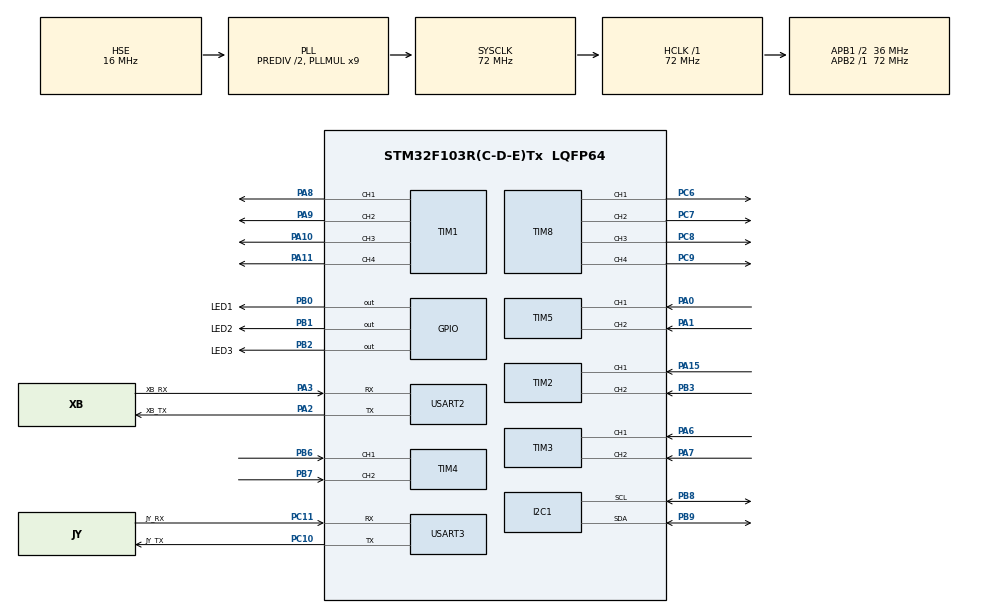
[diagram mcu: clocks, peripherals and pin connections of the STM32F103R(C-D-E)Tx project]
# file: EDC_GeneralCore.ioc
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Dma.Request0=USART2_RX
Dma.Request1=USART3_RX
Dma.USART2_RX.0.Direction=DMA_PERIPH_TO_MEMORY
Dma.USART2_RX.0.Instance=DMA1_Channel6
Dma.USART2_RX.0.MemDataAlignment=DMA_MDATAALIGN_BYTE
Dma.USART2_RX.0.MemInc=DMA_MINC_ENABLE
Dma.USART2_RX.0.Mode=DMA_NORMAL
Dma.USART2_RX.0.PeriphDataAlignment=DMA_PDATAALIGN_BYTE
Dma.USART2_RX.0.PeriphInc=DMA_PINC_DISABLE
Dma.USART2_RX.0.Priority=DMA_PRIORITY_LOW
Dma.USART3_RX.1.Direction=DMA_PERIPH_TO_MEMORY
Dma.USART3_RX.1.Instance=DMA1_Channel3
Dma.USART3_RX.1.MemDataAlignment=DMA_MDATAALIGN_BYTE
Dma.USART3_RX.1.MemInc=DMA_MINC_ENABLE
Dma.USART3_RX.1.Mode=DMA_NORMAL
Dma.USART3_RX.1.PeriphDataAlignment=DMA_PDATAALIGN_BYTE
Dma.USART3_RX.1.PeriphInc=DMA_PINC_DISABLE
Dma.USART3_RX.1.Priority=DMA_PRIORITY_LOW
Mcu.Family=STM32F1
Mcu.Name=STM32F103R(C-D-E)Tx
Mcu.Package=LQFP64
NVIC.DMA1_Channel3_IRQn=true\:3\:0\:true\:false\:true\:false\:true\:true
NVIC.DMA1_Channel6_IRQn=true\:3\:0\:true\:false\:true\:false\:true\:true
NVIC.PriorityGroup=NVIC_PRIORITYGROUP_4
NVIC.TIM6_IRQn=true\:1\:0\:true\:false\:true\:true\:true\:true
NVIC.TIM7_IRQn=true\:5\:0\:true\:false\:true\:true\:true\:true
NVIC.USART2_IRQn=true\:2\:0\:true\:false\:true\:true\:true\:true
NVIC.USART3_IRQn=true\:2\:0\:true\:false\:true\:true\:true\:true
PA0-WKUP.Signal=S_TIM5_CH1
PA1.Signal=S_TIM5_CH2
PA10.Signal=S_TIM1_CH3
PA11.Signal=S_TIM1_CH4
PA13.Mode=Serial_Wire
PA13.Signal=SYS_JTMS-SWDIO
PA14.Mode=Serial_Wire
PA14.Signal=SYS_JTCK-SWCLK
PA15.Signal=S_TIM2_CH1_ETR
PA2.GPIO_Label=XB_TX
PA2.Mode=Asynchronous
PA2.Signal=USART2_TX
PA3.GPIO_Label=XB_RX
PA3.Mode=Asynchronous
PA3.Signal=USART2_RX
PA6.Signal=S_TIM3_CH1
PA7.Signal=S_TIM3_CH2
PA8.Signal=S_TIM1_CH1
PA9.Signal=S_TIM1_CH2
PB0.GPIO_Label=LED1
PB0.Signal=GPIO_Output
PB1.GPIO_Label=LED2
PB1.Signal=GPIO_Output
PB2.GPIO_Label=LED3
PB2.Signal=GPIO_Output
PB3.Signal=S_TIM2_CH2
PB6.Signal=S_TIM4_CH1
PB7.Signal=S_TIM4_CH2
PB8.Mode=I2C
PB8.Signal=I2C1_SCL
PB9.Mode=I2C
PB9.Signal=I2C1_SDA
PC10.GPIO_Label=JY_TX
PC10.Mode=Asynchronous
PC10.Signal=USART3_TX
PC11.GPIO_Label=JY_RX
PC11.Mode=Asynchronous
PC11.Signal=USART3_RX
PC6.Signal=S_TIM8_CH1
PC7.Signal=S_TIM8_CH2
PC8.Signal=S_TIM8_CH3
PC9.Signal=S_TIM8_CH4
PD0-OSC_IN.Mode=HSE-External-Oscillator
PD0-OSC_IN.Signal=RCC_OSC_IN
PD1-OSC_OUT.Mode=HSE-External-Oscillator
PD1-OSC_OUT.Signal=RCC_OSC_OUT
ProjectManager.HeapSize=0x200
ProjectManager.StackSize=0x400
ProjectManager.TargetToolchain=STM32CubeIDE
RCC.AHBFreq_Value=72000000
RCC.APB1CLKDivider=RCC_HCLK_DIV2
RCC.APB1Freq_Value=36000000
RCC.APB1TimFreq_Value=72000000
RCC.APB2Freq_Value=72000000
RCC.APB2TimFreq_Value=72000000
RCC.HCLKFreq_Value=72000000
RCC.HSEDivPLL=RCC_HSE_PREDIV_DIV2
RCC.HSE_VALUE=16000000
RCC.PLLMUL=RCC_PLL_MUL9
RCC.PLLSourceVirtual=RCC_PLLSOURCE_HSE
RCC.SYSCLKFreq_VALUE=72000000
RCC.SYSCLKSource=RCC_SYSCLKSOURCE_PLLCLK
RCC.USBFreq_Value=72000000
SH.S_TIM1_CH1.0=TIM1_CH1,PWM Generation1 CH1
SH.S_TIM1_CH2.0=TIM1_CH2,PWM Generation2 CH2
SH.S_TIM1_CH3.0=TIM1_CH3,PWM Generation3 CH3
SH.S_TIM1_CH4.0=TIM1_CH4,PWM Generation4 CH4
SH.S_TIM2_CH1_ETR.0=TIM2_CH1,Encoder_Interface
SH.S_TIM2_CH2.0=TIM2_CH2,Encoder_Interface
SH.S_TIM3_CH1.0=TIM3_CH1,Encoder_Interface
SH.S_TIM3_CH2.0=TIM3_CH2,Encoder_Interface
SH.S_TIM4_CH1.0=TIM4_CH1,Encoder_Interface
SH.S_TIM4_CH2.0=TIM4_CH2,Encoder_Interface
SH.S_TIM5_CH1.0=TIM5_CH1,Encoder_Interface
SH.S_TIM5_CH2.0=TIM5_CH2,Encoder_Interface
SH.S_TIM8_CH1.0=TIM8_CH1,PWM Generation1 CH1
SH.S_TIM8_CH2.0=TIM8_CH2,PWM Generation2 CH2
SH.S_TIM8_CH3.0=TIM8_CH3,PWM Generation3 CH3
SH.S_TIM8_CH4.0=TIM8_CH4,PWM Generation4 CH4
TIM1.Channel-PWM\ Generation1\ CH1=TIM_CHANNEL_1
TIM1.Channel-PWM\ Generation2\ CH2=TIM_CHANNEL_2
TIM1.Channel-PWM\ Generation3\ CH3=TIM_CHANNEL_3
TIM1.Channel-PWM\ Generation4\ CH4=TIM_CHANNEL_4
TIM6.Period=50000
TIM6.Prescaler=72 - 1
TIM7.Period=10000 - 1
TIM7.Prescaler=7200 - 1
TIM8.Channel-PWM\ Generation1\ CH1=TIM_CHANNEL_1
TIM8.Channel-PWM\ Generation2\ CH2=TIM_CHANNEL_2
TIM8.Channel-PWM\ Generation3\ CH3=TIM_CHANNEL_3
TIM8.Channel-PWM\ Generation4\ CH4=TIM_CHANNEL_4
USART2.VirtualMode=VM_ASYNC
USART3.VirtualMode=VM_ASYNC
VP_TIM1_VS_ClockSourceINT.Mode=Internal
VP_TIM6_VS_ClockSourceINT.Mode=Enable_Timer
VP_TIM7_VS_ClockSourceINT.Mode=Enable_Timer
VP_TIM8_VS_ClockSourceINT.Mode=Internal
board=custom

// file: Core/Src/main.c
/* USER CODE BEGIN Header */
/**
 ******************************************************************************
 * @file           : main.c
 * @brief          : Main program body
 ******************************************************************************
 * @attention
 *
 * Copyright (c) 2022 STMicroelectronics.
 * All rights reserved.
 *
 * This software is licensed under terms that can be found in the LICENSE file
 * in the root directory of this software component.
 * If no LICENSE file comes with this software, it is provided AS-IS.
 *
 * 		Stage date: April 7 2023
 *
 ******************************************************************************
 */
/* USER CODE END Header */
#include "main.h"

/* USER CODE BEGIN Includes */
#include "collab_util.h"
#include "string.h"
/* USER CODE END Includes */

/* USER CODE BEGIN PM */

#define LED1_ON	HAL_GPIO_WritePin(LED1_GPIO_Port, LED1_Pin, 1)
#define LED1_OFF	HAL_GPIO_WritePin(LED1_GPIO_Port, LED1_Pin, 0)
#define LED1_TOGGLE	HAL_GPIO_TogglePin(LED1_GPIO_Port, LED1_Pin)
#define LED2_ON	HAL_GPIO_WritePin(LED2_GPIO_Port, LED2_Pin, 1)
#define LED2_OFF	HAL_GPIO_WritePin(LED2_GPIO_Port, LED2_Pin, 0)
#define LED2_TOGGLE	HAL_GPIO_TogglePin(LED2_GPIO_Port, LED2_Pin)
#define LED3_ON 	HAL_GPIO_WritePin(LED3_GPIO_Port, LED3_Pin, 1)
#define LED3_OFF	HAL_GPIO_WritePin(LED3_GPIO_Port, LED3_Pin, 0)
#define LED3_TOGGLE	HAL_GPIO_TogglePin(LED3_GPIO_Port, LED3_Pin)

#define LED1_BLINK(n) for(uint8_t i = 0; i < n; i++){LED1_ON; HAL_Delay(150); LED1_OFF; HAL_Delay(150);}
/* USER CODE END PM */

I2C_HandleTypeDef hi2c1;

TIM_HandleTypeDef htim1;
TIM_HandleTypeDef htim2;
TIM_HandleTypeDef htim3;
TIM_HandleTypeDef htim4;
TIM_HandleTypeDef htim5;
TIM_HandleTypeDef htim6;
TIM_HandleTypeDef htim7;
TIM_HandleTypeDef htim8;

UART_HandleTypeDef huart2;
UART_HandleTypeDef huart3;
DMA_HandleTypeDef hdma_usart2_rx;
DMA_HandleTypeDef hdma_usart3_rx;

/* USER CODE BEGIN PV */

// instances
Motor_HandleTypeDef cmotor_lf, cmotor_rf, cmotor_lb, cmotor_rb;
JY62_HandleTypeDef himu;
XB_HandleTypeDef hxb;

// game information 1
uint8_t gameStage;		    // 0: pre-match(standby); 1: first half; 2: second half
uint8_t gameStatus;			// 0: standby; 1: running
uint8_t task_mode = 0;          // 0:set battery 1: get packet 2:send packet 3:charge

uint32_t gameStageTimeLimit;		// in ms
uint32_t gameStageTimeSinceStart;	// in ms
Rectangle obstacles[5];			// area that depletes charge faster
Coordinate allyBeacons[3];		// ally charging station coordinate
Coordinate oppoBeacons[3];		// opponent charging station coordinate
Coordinate want_allyBeacons[3];
Coordinate exitpoints[8];         	// record the exit.

// game information 2
Order *delivering[8];		// package picked up but not yet delivered
uint8_t delivering_num = 0;
uint8_t allyBeacons_num = 0;
uint8_t oppoBeacons_num = 0;
extern Order_list orders;

// game information 3
Coordinate myCoord;			// precise coordinate returned by game master
fCoordinate EstiCoord;       // predict coordinate
uint8_t CoordinateUpdate;   // 0 is not Update, 1 is Update
uint8_t overtime = 0;

float angleZ;
double omegaZ, accelY;		// turning speed and linear acceleration
float initangleZ;                  // init angleZ
float myScore;				// current score returned by Master
int32_t myCharge;				// current charge returned by Master

// interchange information 1
uint32_t gameStageTimeLeft;		// in ms
// OLED display buffer
char firstLine[22], secondLine[22], thirdLine[22], fourthLine[22];		// 128 / 6 = 21

Coordinate merchant, consumer, charge;

// debug information
uint8_t jy62_DMA_ErrorCount, jy62_IT_SuccessCount, xb_DMA_SW_ErrorCount, xb_DMA_HW_ErrorCount,
		xb_IT_SuccessCount = 0;
uint8_t jy62_uart_normal, xb_uart_normal;
/* USER CODE END PV */

void SystemClock_Config(void);
static void MX_GPIO_Init(void);
static void MX_DMA_Init(void);
static void MX_I2C1_Init(void);
static void MX_TIM1_Init(void);
static void MX_TIM2_Init(void);
static void MX_TIM3_Init(void);
static void MX_TIM4_Init(void);
static void MX_TIM5_Init(void);
static void MX_TIM8_Init(void);
static void MX_USART2_UART_Init(void);
static void MX_USART3_UART_Init(void);
static void MX_TIM6_Init(void);
static void MX_TIM7_Init(void);
/* USER CODE BEGIN PFP */
static void HUAN_MOTOR1_Init(void);
static void HUAN_MOTOR2_Init(void);
static void HUAN_MOTOR3_Init(void);
static void HUAN_MOTOR4_Init(void);
static void HUAN_IMU_Init(void);
static void HUAN_ZIGBEE_Init(void);

/* USER CODE END PFP */

int main(void)
{

	/* MCU Configuration--------------------------------------------------------*/

	/* Reset of all peripherals, Initializes the Flash interface and the Systick. */
	HAL_Init();

	/* Configure the system clock */
	SystemClock_Config();

	/* Initialize all configured peripherals */
	MX_GPIO_Init();
	MX_DMA_Init();
	MX_I2C1_Init();
	MX_TIM1_Init();
	MX_TIM2_Init();
	MX_TIM3_Init();
	MX_TIM4_Init();
	MX_TIM5_Init();
	MX_TIM8_Init();
	MX_USART2_UART_Init();
	MX_USART3_UART_Init();
	MX_TIM6_Init();
	MX_TIM7_Init();
	/* USER CODE BEGIN 2 */
	//Motor initialization part
	cmotor_lf.encoderInverted = 1;
	cmotor_lb.encoderInverted = 1;
	HUAN_MOTOR1_Init();
	HUAN_MOTOR2_Init();
	HUAN_MOTOR3_Init();
	HUAN_MOTOR4_Init();
	HUAN_IMU_Init();
	HUAN_ZIGBEE_Init();
	ssd1306_Init();
	huansic_order_init();
	order_list_init();
	exitpoints_init();
	// tick per motor rev = 1080 (measured)
	// tick per rotor rev = 54 (calculated)
	// reduction ratio = 20 (given)

	//Set PID timer after data stables
	HAL_Delay(20);
	HAL_TIM_Base_Start_IT(&htim6);
	HAL_TIM_Base_Start_IT(&htim7);

	jy62_DMA_ErrorCount = 0;
	jy62_IT_SuccessCount = 0;
	xb_DMA_SW_ErrorCount = 0;
	xb_DMA_HW_ErrorCount = 0;
	xb_IT_SuccessCount = 0;
	/* USER CODE END 2 */

	/* Infinite loop */
	/* USER CODE BEGIN WHILE */
	sprintf(firstLine, "    ERR   SUC");
	sprintf(secondLine, "XB");
	sprintf(thirdLine, "JY");
	ssd1306_WriteString(firstLine, Font_6x8, White);
	ssd1306_SetCursor(0, 8);
	ssd1306_WriteString(secondLine, Font_6x8, White);
	ssd1306_SetCursor(0, 16);
	ssd1306_WriteString(thirdLine, Font_6x8, White);
	ssd1306_UpdateScreen();

	CoordinateUpdate = 0;
	int8_t merchant_index = -1;

	while (1) {
		// test code to ensure the motor can work
//    	HAL_Delay(3000);
//    	cmotor_rb.goalSpeed = 2000;
//    	while(1){
//
//    	}
//    	huansic_xb_requestGameInfo(&hxb);
//    	cmotor_lb.goalSpeed = 1000;
//		HAL_Delay(1000);
//		cmotor_lb.goalSpeed = -1000;
//		HAL_Delay(1000);
//		chao_move_angle(135, 1000);
//		HAL_Delay(1000);
//		chao_move_angle(90, 2000);
//		HAL_Delay(1000);
//		chao_move_angle(180, 2000);
//		HAL_Delay(1000);
//		chao_move_angle(270, 2000);

		if (gameStatus == 0) {		// if the game is not running
//	    	LED1_ON;
//	    	HAL_Delay(1000);
//	    	LED1_OFF;
		}
		else
		{
			while (gameStage == 0) {		// pre-match
				chao_move_angle(0, 0);
				// find angle offset
				//initangleZ = -himu.theta[2];
				// do some initialization
				Cal_Battery_Coord();
				// get obstacle list
				huansic_xb_requestGameInfo(&hxb);
				task_mode = 0;
			}

			while (gameStage == 1) {			// first-half
				if (task_mode == 0) {
					//setChargingPile
					set_Beacons();
					while (orders.length == 0)
					{
						chao_move_angle(0, 0);
					}
					task_mode = 4;
				}
				else if(hxb.lastUpdated + 1000 < HAL_GetTick()) {
					chao_move_angle(0, 0);
				}
				else {
					if (task_mode == 1) {
						for (uint8_t i = merchant_index + 1; i < orders.length; i++)
								{
							orders.buffer[i - 1] = orders.buffer[i];
						}
						orders.length -= 1;
						Get_packet(merchant);
						task_mode = 4;
					} else if (task_mode == 2) {
						Send_packet(consumer);
						task_mode = 4;
					}
					else if (task_mode == 4)			// if task_mode == 4
					{
						merchant_index = Get_nearest_order();
						if (merchant_index == -1)
							merchant = myCoord;
						else
							merchant = orders.buffer[merchant_index];
						consumer = Get_nearest_consumer();

						if (delivering_num > 4) {
							task_mode = 2;
						}
						else if (merchant_index == -1)
								{
							if (delivering_num == 0) {
								move_random();
							}
							else {
								task_mode = 2;
							}
						}
						else if (delivering_num == 0) {
							task_mode = 1;
						}
						else if (overtime == 1) {
							task_mode = 2;
							overtime = 0;
						}
						else if (gameStageTimeLeft < 7000 && delivering_num > 0) {
							task_mode = 2;
						}
						else if ((abs(merchant.x - myCoord.x) + abs(merchant.y - myCoord.y))
								< (abs(consumer.x - myCoord.x) + abs(consumer.y - myCoord.y))) {
							task_mode = 1;
						} else {
							task_mode = 2;
						}
					}
				}

			}

			while (gameStage == 2) {			// second-half
				while (myCharge < 500)
				{
//					huansic_xb_requestGameInfo(&hxb);
					charge = Get_nearest_Beacon();
					GotoDestination(charge, 0);
				}
				if(hxb.lastUpdated + 1000 < HAL_GetTick()) {
					chao_move_angle(0, 0);
				}
				else if (task_mode == 1) {
					for (uint8_t i = merchant_index + 1; i < orders.length; i++)
							{
						orders.buffer[i - 1] = orders.buffer[i];
					}
					orders.length -= 1;
					Get_packet(merchant);
					task_mode = 4;
				} else if (task_mode == 2) {
					Send_packet(consumer);
					task_mode = 4;
				}
				else if (task_mode == 4)			// if task_mode == 4
						{
					merchant_index = Get_nearest_order();
					if (merchant_index == -1)
						merchant = myCoord;
					else
						merchant = orders.buffer[merchant_index];
					consumer = Get_nearest_consumer();

					if (delivering_num > 3) {
						task_mode = 2;
					}
					else if (merchant_index == -1)
							{
						if (delivering_num == 0) {
							charge = Get_nearest_Beacon();
							GotoDestination(charge, 0);
						}
						else {
							task_mode = 2;
						}
					}
					else if (delivering_num == 0) {
						task_mode = 1;
					}
					else if (overtime == 1) {
						task_mode = 2;
						overtime = 0;
					}
					else if (gameStageTimeLeft < 10000 && delivering_num > 0) {
						task_mode = 2;
					}
					else if ((abs(merchant.x - myCoord.x) + abs(merchant.y - myCoord.y))
							< (abs(consumer.x - myCoord.x) + abs(consumer.y - myCoord.y))) {
						task_mode = 1;
					} else {
						task_mode = 2;
					}
				}
				else
					task_mode = 4;
			}
		}

		/* USER CODE END WHILE */

	}
}

void SystemClock_Config(void)
{
	RCC_OscInitTypeDef RCC_OscInitStruct = { 0 };
	RCC_ClkInitTypeDef RCC_ClkInitStruct = { 0 };

	/** Initializes the RCC Oscillators according to the specified parameters
	 * in the RCC_OscInitTypeDef structure.
	 */
	RCC_OscInitStruct.OscillatorType = RCC_OSCILLATORTYPE_HSE;
	RCC_OscInitStruct.HSEState = RCC_HSE_ON;
	RCC_OscInitStruct.HSEPredivValue = RCC_HSE_PREDIV_DIV2;
	RCC_OscInitStruct.HSIState = RCC_HSI_ON;
	RCC_OscInitStruct.PLL.PLLState = RCC_PLL_ON;
	RCC_OscInitStruct.PLL.PLLSource = RCC_PLLSOURCE_HSE;
	RCC_OscInitStruct.PLL.PLLMUL = RCC_PLL_MUL9;
	if (HAL_RCC_OscConfig(&RCC_OscInitStruct) != HAL_OK)
			{
		Error_Handler();
	}

	/** Initializes the CPU, AHB and APB buses clocks
	 */
	RCC_ClkInitStruct.ClockType = RCC_CLOCKTYPE_HCLK | RCC_CLOCKTYPE_SYSCLK
			| RCC_CLOCKTYPE_PCLK1 | RCC_CLOCKTYPE_PCLK2;
	RCC_ClkInitStruct.SYSCLKSource = RCC_SYSCLKSOURCE_PLLCLK;
	RCC_ClkInitStruct.AHBCLKDivider = RCC_SYSCLK_DIV1;
	RCC_ClkInitStruct.APB1CLKDivider = RCC_HCLK_DIV2;
	RCC_ClkInitStruct.APB2CLKDivider = RCC_HCLK_DIV1;

	if (HAL_RCC_ClockConfig(&RCC_ClkInitStruct, FLASH_LATENCY_2) != HAL_OK)
			{
		Error_Handler();
	}
}

static void MX_I2C1_Init(void)
{

	hi2c1.Instance = I2C1;
	hi2c1.Init.ClockSpeed = 100000;
	hi2c1.Init.DutyCycle = I2C_DUTYCYCLE_2;
	hi2c1.Init.OwnAddress1 = 0;
	hi2c1.Init.AddressingMode = I2C_ADDRESSINGMODE_7BIT;
	hi2c1.Init.DualAddressMode = I2C_DUALADDRESS_DISABLE;
	hi2c1.Init.OwnAddress2 = 0;
	hi2c1.Init.GeneralCallMode = I2C_GENERALCALL_DISABLE;
	hi2c1.Init.NoStretchMode = I2C_NOSTRETCH_DISABLE;
	if (HAL_I2C_Init(&hi2c1) != HAL_OK)
			{
		Error_Handler();
	}

}

static void MX_TIM1_Init(void)
{

	TIM_ClockConfigTypeDef sClockSourceConfig = { 0 };
	TIM_MasterConfigTypeDef sMasterConfig = { 0 };
	TIM_OC_InitTypeDef sConfigOC = { 0 };
	TIM_BreakDeadTimeConfigTypeDef sBreakDeadTimeConfig = { 0 };

	htim1.Instance = TIM1;
	htim1.Init.Prescaler = 0;
	htim1.Init.CounterMode = TIM_COUNTERMODE_UP;
	htim1.Init.Period = 65535;
	htim1.Init.ClockDivision = TIM_CLOCKDIVISION_DIV1;
	htim1.Init.RepetitionCounter = 0;
	htim1.Init.AutoReloadPreload = TIM_AUTORELOAD_PRELOAD_DISABLE;
	if (HAL_TIM_Base_Init(&htim1) != HAL_OK)
			{
		Error_Handler();
	}
	sClockSourceConfig.ClockSource = TIM_CLOCKSOURCE_INTERNAL;
	if (HAL_TIM_ConfigClockSource(&htim1, &sClockSourceConfig) != HAL_OK)
			{
		Error_Handler();
	}
	if (HAL_TIM_PWM_Init(&htim1) != HAL_OK)
			{
		Error_Handler();
	}
	sMasterConfig.MasterOutputTrigger = TIM_TRGO_RESET;
	sMasterConfig.MasterSlaveMode = TIM_MASTERSLAVEMODE_DISABLE;
	if (HAL_TIMEx_MasterConfigSynchronization(&htim1, &sMasterConfig) != HAL_OK)
			{
		Error_Handler();
	}
	sConfigOC.OCMode = TIM_OCMODE_PWM1;
	sConfigOC.Pulse = 0;
	sConfigOC.OCPolarity = TIM_OCPOLARITY_HIGH;
	sConfigOC.OCNPolarity = TIM_OCNPOLARITY_HIGH;
	sConfigOC.OCFastMode = TIM_OCFAST_DISABLE;
	sConfigOC.OCIdleState = TIM_OCIDLESTATE_RESET;
	sConfigOC.OCNIdleState = TIM_OCNIDLESTATE_RESET;
	if (HAL_TIM_PWM_ConfigChannel(&htim1, &sConfigOC, TIM_CHANNEL_1) != HAL_OK)
			{
		Error_Handler();
	}
	if (HAL_TIM_PWM_ConfigChannel(&htim1, &sConfigOC, TIM_CHANNEL_2) != HAL_OK)
			{
		Error_Handler();
	}
	if (HAL_TIM_PWM_ConfigChannel(&htim1, &sConfigOC, TIM_CHANNEL_3) != HAL_OK)
			{
		Error_Handler();
	}
	if (HAL_TIM_PWM_ConfigChannel(&htim1, &sConfigOC, TIM_CHANNEL_4) != HAL_OK)
			{
		Error_Handler();
	}
	sBreakDeadTimeConfig.OffStateRunMode = TIM_OSSR_DISABLE;
	sBreakDeadTimeConfig.OffStateIDLEMode = TIM_OSSI_DISABLE;
	sBreakDeadTimeConfig.LockLevel = TIM_LOCKLEVEL_OFF;
	sBreakDeadTimeConfig.DeadTime = 0;
	sBreakDeadTimeConfig.BreakState = TIM_BREAK_DISABLE;
	sBreakDeadTimeConfig.BreakPolarity = TIM_BREAKPOLARITY_HIGH;
	sBreakDeadTimeConfig.AutomaticOutput = TIM_AUTOMATICOUTPUT_DISABLE;
	if (HAL_TIMEx_ConfigBreakDeadTime(&htim1, &sBreakDeadTimeConfig) != HAL_OK)
			{
		Error_Handler();
	}
	HAL_TIM_MspPostInit(&htim1);

}

static void MX_TIM2_Init(void)
{

	TIM_Encoder_InitTypeDef sConfig = { 0 };
	TIM_MasterConfigTypeDef sMasterConfig = { 0 };

	htim2.Instance = TIM2;
	htim2.Init.Prescaler = 0;
	htim2.Init.CounterMode = TIM_COUNTERMODE_UP;
	htim2.Init.Period = 65535;
	htim2.Init.ClockDivision = TIM_CLOCKDIVISION_DIV1;
	htim2.Init.AutoReloadPreload = TIM_AUTORELOAD_PRELOAD_DISABLE;
	sConfig.EncoderMode = TIM_ENCODERMODE_TI1;
	sConfig.IC1Polarity = TIM_ICPOLARITY_RISING;
	sConfig.IC1Selection = TIM_ICSELECTION_DIRECTTI;
	sConfig.IC1Prescaler = TIM_ICPSC_DIV1;
	sConfig.IC1Filter = 0;
	sConfig.IC2Polarity = TIM_ICPOLARITY_RISING;
	sConfig.IC2Selection = TIM_ICSELECTION_DIRECTTI;
	sConfig.IC2Prescaler = TIM_ICPSC_DIV1;
	sConfig.IC2Filter = 0;
	if (HAL_TIM_Encoder_Init(&htim2, &sConfig) != HAL_OK)
			{
		Error_Handler();
	}
	sMasterConfig.MasterOutputTrigger = TIM_TRGO_RESET;
	sMasterConfig.MasterSlaveMode = TIM_MASTERSLAVEMODE_DISABLE;
	if (HAL_TIMEx_MasterConfigSynchronization(&htim2, &sMasterConfig) != HAL_OK)
			{
		Error_Handler();
	}

}

static void MX_TIM3_Init(void)
{

	TIM_Encoder_InitTypeDef sConfig = { 0 };
	TIM_MasterConfigTypeDef sMasterConfig = { 0 };

	htim3.Instance = TIM3;
	htim3.Init.Prescaler = 0;
	htim3.Init.CounterMode = TIM_COUNTERMODE_UP;
	htim3.Init.Period = 65535;
	htim3.Init.ClockDivision = TIM_CLOCKDIVISION_DIV1;
	htim3.Init.AutoReloadPreload = TIM_AUTORELOAD_PRELOAD_DISABLE;
	sConfig.EncoderMode = TIM_ENCODERMODE_TI1;
	sConfig.IC1Polarity = TIM_ICPOLARITY_RISING;
	sConfig.IC1Selection = TIM_ICSELECTION_DIRECTTI;
	sConfig.IC1Prescaler = TIM_ICPSC_DIV1;
	sConfig.IC1Filter = 0;
	sConfig.IC2Polarity = TIM_ICPOLARITY_RISING;
	sConfig.IC2Selection = TIM_ICSELECTION_DIRECTTI;
	sConfig.IC2Prescaler = TIM_ICPSC_DIV1;
	sConfig.IC2Filter = 0;
	if (HAL_TIM_Encoder_Init(&htim3, &sConfig) != HAL_OK)
			{
		Error_Handler();
	}
	sMasterConfig.MasterOutputTrigger = TIM_TRGO_RESET;
	sMasterConfig.MasterSlaveMode = TIM_MASTERSLAVEMODE_DISABLE;
	if (HAL_TIMEx_MasterConfigSynchronization(&htim3, &sMasterConfig) != HAL_OK)
			{
		Error_Handler();
	}

}

static void MX_TIM4_Init(void)
{

	TIM_Encoder_InitTypeDef sConfig = { 0 };
	TIM_MasterConfigTypeDef sMasterConfig = { 0 };

	htim4.Instance = TIM4;
	htim4.Init.Prescaler = 0;
	htim4.Init.CounterMode = TIM_COUNTERMODE_UP;
	htim4.Init.Period = 65535;
	htim4.Init.ClockDivision = TIM_CLOCKDIVISION_DIV1;
	htim4.Init.AutoReloadPreload = TIM_AUTORELOAD_PRELOAD_DISABLE;
	sConfig.EncoderMode = TIM_ENCODERMODE_TI1;
	sConfig.IC1Polarity = TIM_ICPOLARITY_RISING;
	sConfig.IC1Selection = TIM_ICSELECTION_DIRECTTI;
	sConfig.IC1Prescaler = TIM_ICPSC_DIV1;
	sConfig.IC1Filter = 0;
	sConfig.IC2Polarity = TIM_ICPOLARITY_RISING;
	sConfig.IC2Selection = TIM_ICSELECTION_DIRECTTI;
	sConfig.IC2Prescaler = TIM_ICPSC_DIV1;
	sConfig.IC2Filter = 0;
	if (HAL_TIM_Encoder_Init(&htim4, &sConfig) != HAL_OK)
			{
		Error_Handler();
	}
	sMasterConfig.MasterOutputTrigger = TIM_TRGO_RESET;
	sMasterConfig.MasterSlaveMode = TIM_MASTERSLAVEMODE_DISABLE;
	if (HAL_TIMEx_MasterConfigSynchronization(&htim4, &sMasterConfig) != HAL_OK)
			{
		Error_Handler();
	}

}

static void MX_TIM5_Init(void)
{

	TIM_Encoder_InitTypeDef sConfig = { 0 };
	TIM_MasterConfigTypeDef sMasterConfig = { 0 };

	htim5.Instance = TIM5;
	htim5.Init.Prescaler = 0;
	htim5.Init.CounterMode = TIM_COUNTERMODE_UP;
	htim5.Init.Period = 65535;
	htim5.Init.ClockDivision = TIM_CLOCKDIVISION_DIV1;
	htim5.Init.AutoReloadPreload = TIM_AUTORELOAD_PRELOAD_DISABLE;
	sConfig.EncoderMode = TIM_ENCODERMODE_TI1;
	sConfig.IC1Polarity = TIM_ICPOLARITY_RISING;
	sConfig.IC1Selection = TIM_ICSELECTION_DIRECTTI;
	sConfig.IC1Prescaler = TIM_ICPSC_DIV1;
	sConfig.IC1Filter = 0;
	sConfig.IC2Polarity = TIM_ICPOLARITY_RISING;
	sConfig.IC2Selection = TIM_ICSELECTION_DIRECTTI;
	sConfig.IC2Prescaler = TIM_ICPSC_DIV1;
	sConfig.IC2Filter = 0;
	if (HAL_TIM_Encoder_Init(&htim5, &sConfig) != HAL_OK)
			{
		Error_Handler();
	}
	sMasterConfig.MasterOutputTrigger = TIM_TRGO_RESET;
	sMasterConfig.MasterSlaveMode = TIM_MASTERSLAVEMODE_DISABLE;
	if (HAL_TIMEx_MasterConfigSynchronization(&htim5, &sMasterConfig) != HAL_OK)
			{
		Error_Handler();
	}

}

static void MX_TIM6_Init(void)
{

	TIM_MasterConfigTypeDef sMasterConfig = { 0 };

	htim6.Instance = TIM6;
	htim6.Init.Prescaler = 72 - 1;
	htim6.Init.CounterMode = TIM_COUNTERMODE_UP;
	htim6.Init.Period = 50000;
	htim6.Init.AutoReloadPreload = TIM_AUTORELOAD_PRELOAD_DISABLE;
	if (HAL_TIM_Base_Init(&htim6) != HAL_OK)
			{
		Error_Handler();
	}
	sMasterConfig.MasterOutputTrigger = TIM_TRGO_RESET;
	sMasterConfig.MasterSlaveMode = TIM_MASTERSLAVEMODE_DISABLE;
	if (HAL_TIMEx_MasterConfigSynchronization(&htim6, &sMasterConfig) != HAL_OK)
			{
		Error_Handler();
	}

}

static void MX_TIM7_Init(void)
{

	TIM_MasterConfigTypeDef sMasterConfig = { 0 };

	htim7.Instance = TIM7;
	htim7.Init.Prescaler = 7200 - 1;
	htim7.Init.CounterMode = TIM_COUNTERMODE_UP;
	htim7.Init.Period = 10000 - 1;
	htim7.Init.AutoReloadPreload = TIM_AUTORELOAD_PRELOAD_DISABLE;
	if (HAL_TIM_Base_Init(&htim7) != HAL_OK)
			{
		Error_Handler();
	}
	sMasterConfig.MasterOutputTrigger = TIM_TRGO_RESET;
	sMasterConfig.MasterSlaveMode = TIM_MASTERSLAVEMODE_DISABLE;
	if (HAL_TIMEx_MasterConfigSynchronization(&htim7, &sMasterConfig) != HAL_OK)
			{
		Error_Handler();
	}

}

static void MX_TIM8_Init(void)
{

	TIM_ClockConfigTypeDef sClockSourceConfig = { 0 };
	TIM_MasterConfigTypeDef sMasterConfig = { 0 };
	TIM_OC_InitTypeDef sConfigOC = { 0 };
	TIM_BreakDeadTimeConfigTypeDef sBreakDeadTimeConfig = { 0 };

	htim8.Instance = TIM8;
	htim8.Init.Prescaler = 0;
	htim8.Init.CounterMode = TIM_COUNTERMODE_UP;
	htim8.Init.Period = 65535;
	htim8.Init.ClockDivision = TIM_CLOCKDIVISION_DIV1;
	htim8.Init.RepetitionCounter = 0;
	htim8.Init.AutoReloadPreload = TIM_AUTORELOAD_PRELOAD_DISABLE;
	if (HAL_TIM_Base_Init(&htim8) != HAL_OK)
			{
		Error_Handler();
	}
	sClockSourceConfig.ClockSource = TIM_CLOCKSOURCE_INTERNAL;
	if (HAL_TIM_ConfigClockSource(&htim8, &sClockSourceConfig) != HAL_OK)
			{
		Error_Handler();
	}
	if (HAL_TIM_PWM_Init(&htim8) != HAL_OK)
			{
		Error_Handler();
	}
	sMasterConfig.MasterOutputTrigger = TIM_TRGO_RESET;
	sMasterConfig.MasterSlaveMode = TIM_MASTERSLAVEMODE_DISABLE;
	if (HAL_TIMEx_MasterConfigSynchronization(&htim8, &sMasterConfig) != HAL_OK)
			{
		Error_Handler();
	}
	sConfigOC.OCMode = TIM_OCMODE_PWM1;
	sConfigOC.Pulse = 0;
	sConfigOC.OCPolarity = TIM_OCPOLARITY_HIGH;
	sConfigOC.OCNPolarity = TIM_OCNPOLARITY_HIGH;
	sConfigOC.OCFastMode = TIM_OCFAST_DISABLE;
	sConfigOC.OCIdleState = TIM_OCIDLESTATE_RESET;
	sConfigOC.OCNIdleState = TIM_OCNIDLESTATE_RESET;
	if (HAL_TIM_PWM_ConfigChannel(&htim8, &sConfigOC, TIM_CHANNEL_1) != HAL_OK)
			{
		Error_Handler();
	}
	if (HAL_TIM_PWM_ConfigChannel(&htim8, &sConfigOC, TIM_CHANNEL_2) != HAL_OK)
			{
		Error_Handler();
	}
	if (HAL_TIM_PWM_ConfigChannel(&htim8, &sConfigOC, TIM_CHANNEL_3) != HAL_OK)
			{
		Error_Handler();
	}
	if (HAL_TIM_PWM_ConfigChannel(&htim8, &sConfigOC, TIM_CHANNEL_4) != HAL_OK)
			{
		Error_Handler();
	}
	sBreakDeadTimeConfig.OffStateRunMode = TIM_OSSR_DISABLE;
	sBreakDeadTimeConfig.OffStateIDLEMode = TIM_OSSI_DISABLE;
	sBreakDeadTimeConfig.LockLevel = TIM_LOCKLEVEL_OFF;
	sBreakDeadTimeConfig.DeadTime = 0;
	sBreakDeadTimeConfig.BreakState = TIM_BREAK_DISABLE;
	sBreakDeadTimeConfig.BreakPolarity = TIM_BREAKPOLARITY_HIGH;
	sBreakDeadTimeConfig.AutomaticOutput = TIM_AUTOMATICOUTPUT_DISABLE;
	if (HAL_TIMEx_ConfigBreakDeadTime(&htim8, &sBreakDeadTimeConfig) != HAL_OK)
			{
		Error_Handler();
	}
	HAL_TIM_MspPostInit(&htim8);

}

static void MX_USART2_UART_Init(void)
{

	huart2.Instance = USART2;
	huart2.Init.BaudRate = 115200;
	huart2.Init.WordLength = UART_WORDLENGTH_8B;
	huart2.Init.StopBits = UART_STOPBITS_1;
	huart2.Init.Parity = UART_PARITY_NONE;
	huart2.Init.Mode = UART_MODE_TX_RX;
	huart2.Init.HwFlowCtl = UART_HWCONTROL_NONE;
	huart2.Init.OverSampling = UART_OVERSAMPLING_16;
	if (HAL_UART_Init(&huart2) != HAL_OK)
			{
		Error_Handler();
	}

}

static void MX_USART3_UART_Init(void)
{

	huart3.Instance = USART3;
	huart3.Init.BaudRate = 115200;
	huart3.Init.WordLength = UART_WORDLENGTH_8B;
	huart3.Init.StopBits = UART_STOPBITS_1;
	huart3.Init.Parity = UART_PARITY_NONE;
	huart3.Init.Mode = UART_MODE_TX_RX;
	huart3.Init.HwFlowCtl = UART_HWCONTROL_NONE;
	huart3.Init.OverSampling = UART_OVERSAMPLING_16;
	if (HAL_UART_Init(&huart3) != HAL_OK)
			{
		Error_Handler();
	}

}

static void MX_DMA_Init(void)
{

	/* DMA controller clock enable */
	__HAL_RCC_DMA1_CLK_ENABLE();

	/* DMA interrupt init */
	/* DMA1_Channel3_IRQn interrupt configuration */
	HAL_NVIC_SetPriority(DMA1_Channel3_IRQn, 3, 0);
	HAL_NVIC_EnableIRQ(DMA1_Channel3_IRQn);
	/* DMA1_Channel6_IRQn interrupt configuration */
	HAL_NVIC_SetPriority(DMA1_Channel6_IRQn, 4, 0);
	HAL_NVIC_EnableIRQ(DMA1_Channel6_IRQn);

}

static void MX_GPIO_Init(void)
{
	GPIO_InitTypeDef GPIO_InitStruct = { 0 };

	/* GPIO Ports Clock Enable */
	__HAL_RCC_GPIOD_CLK_ENABLE();
	__HAL_RCC_GPIOA_CLK_ENABLE();
	__HAL_RCC_GPIOB_CLK_ENABLE();
	__HAL_RCC_GPIOC_CLK_ENABLE();

	/*Configure GPIO pin Output Level */
	HAL_GPIO_WritePin(GPIOB, LED1_Pin | LED2_Pin | LED3_Pin, GPIO_PIN_RESET);

	/*Configure GPIO pins : LED1_Pin LED2_Pin LED3_Pin */
	GPIO_InitStruct.Pin = LED1_Pin | LED2_Pin | LED3_Pin;
	GPIO_InitStruct.Mode = GPIO_MODE_OUTPUT_PP;
	GPIO_InitStruct.Pull = GPIO_NOPULL;
	GPIO_InitStruct.Speed = GPIO_SPEED_FREQ_LOW;
	HAL_GPIO_Init(GPIOB, &GPIO_InitStruct);

}

/* USER CODE BEGIN 4 */

static void HUAN_MOTOR1_Init(void) {
	cmotor_lf.counter = &htim2;
	cmotor_lf.dt = 0.05;
	cmotor_lf.posTimer = &htim1;
	cmotor_lf.pos_channel = TIM_CHANNEL_4;
//	cmotor_lf.pos_channel = TIM_CHANNEL_3;
	cmotor_lf.negTimer = &htim1;
	cmotor_lf.neg_channel = TIM_CHANNEL_3;
//	cmotor_lf.neg_channel = TIM_CHANNEL_4;
	cmotor_lf.encoderInverted = 1;
	cmotor_lf.kp = 0.0005;
	cmotor_lf.ki = 0.000015;
	cmotor_lf.kd = 0.00003;
	huansic_motor_init(&cmotor_lf);
}

static void HUAN_MOTOR2_Init(void) {
	cmotor_rf.counter = &htim4;
	cmotor_rf.dt = 0.05;
	cmotor_rf.posTimer = &htim1;
	cmotor_rf.pos_channel = TIM_CHANNEL_1;
	cmotor_rf.negTimer = &htim1;
	cmotor_rf.neg_channel = TIM_CHANNEL_2;
	cmotor_rf.encoderInverted = 0;
	cmotor_rf.kp = 0.0005;
	cmotor_rf.ki = 0.000015;
	cmotor_rf.kd = 0.00003;
	huansic_motor_init(&cmotor_rf);
}

static void HUAN_MOTOR3_Init(void) {
	cmotor_lb.counter = &htim3;
	cmotor_lb.dt = 0.05;
	cmotor_lb.posTimer = &htim8;
	cmotor_lb.pos_channel = TIM_CHANNEL_4;
//	cmotor_lb.pos_channel = TIM_CHANNEL_3;
	cmotor_lb.negTimer = &htim8;
	cmotor_lb.neg_channel = TIM_CHANNEL_3;
//	cmotor_lb.neg_channel = TIM_CHANNEL_4;
	cmotor_lb.encoderInverted = 1;
	cmotor_lb.kp = 0.0005;
	cmotor_lb.ki = 0.000015;
	cmotor_lb.kd = 0.00003;
	huansic_motor_init(&cmotor_lb);
}

static void HUAN_MOTOR4_Init(void) {
	cmotor_rb.counter = &htim5;
	cmotor_rb.dt = 0.05;
	cmotor_rb.posTimer = &htim8;
	cmotor_rb.pos_channel = TIM_CHANNEL_1;
	cmotor_rb.negTimer = &htim8;
	cmotor_rb.neg_channel = TIM_CHANNEL_2;
	cmotor_rb.encoderInverted = 0;
	cmotor_rb.kp = 0.0005;
	cmotor_rb.ki = 0.000015;
	cmotor_rb.kd = 0.00003;
	huansic_motor_init(&cmotor_rb);
}

static void HUAN_IMU_Init(void) {
	himu.huart = &huart3;
	huansic_jy62_init_dma(&himu);
}

static void HUAN_ZIGBEE_Init(void) {
	hxb.huart = &huart2;
	hxb.hdma = &hdma_usart2_rx;
	huansic_xb_init(&hxb);
}

void HAL_UARTEx_RxEventCallback(UART_HandleTypeDef *huart, uint16_t Size) {
	if (himu.huart == huart) {
		jy62_uart_normal = 1;
		huansic_jy62_idle_isr(&himu);
	}
}

void HAL_UART_RxCpltCallback(UART_HandleTypeDef *huart) {
	if (himu.huart == huart) {
		jy62_uart_normal = 1;
		huansic_jy62_dma_isr(&himu);
	} else if (hxb.huart == huart) {
		xb_uart_normal = 1;
		if (hxb.pending_alignment) {
			if (!huansic_xb_isr(&hxb))
				xb_IT_SuccessCount++;
		} else {
			if (huansic_xb_dma_isr(&hxb))
				xb_DMA_SW_ErrorCount++;
		}
	}
}

void HAL_UART_ErrorCallback(UART_HandleTypeDef *huart) {
	if (himu.huart == huart) {
		jy62_uart_normal = 1;
		huansic_jy62_error_isr(&himu);
	} else if (hxb.huart == huart) {
		xb_uart_normal = 1;
		if (huart->ErrorCode & HAL_UART_ERROR_DMA) {
//			HAL_UART_DeInit(&huart2);
//			MX_USART2_UART_Init();
			__HAL_DMA_CLEAR_FLAG(hxb.hdma, DMA_FLAG_TE6 | DMA_FLAG_HT6 | DMA_FLAG_TC6 | DMA_FLAG_GL6);
			huansic_xb_dma_error(&hxb);
			xb_DMA_HW_ErrorCount++;
		} else {
			if (hxb.huart->ErrorCode & HAL_UART_ERROR_ORE) {
				__HAL_UART_CLEAR_OREFLAG(hxb.huart);
			}
//			HAL_UART_DeInit(&huart2);
//			MX_USART2_UART_Init()
			huansic_xb_it_error(&hxb);
		}
	}
	huart->ErrorCode = HAL_UART_ERROR_NONE;
}

void HUAN_PeriodicInt1000ms_ISR(void) {
	sprintf(firstLine, "    ERR   SUC");
	sprintf(secondLine, "XB  %02X    %02X", xb_DMA_HW_ErrorCount, xb_IT_SuccessCount);
	sprintf(thirdLine, "JY  %02X    %02X", jy62_DMA_ErrorCount, jy62_IT_SuccessCount);
	ssd1306_WriteString(firstLine, Font_6x8, White);
	ssd1306_SetCursor(0, 8);
	ssd1306_WriteString(secondLine, Font_6x8, White);
	ssd1306_SetCursor(0, 16);
	ssd1306_WriteString(thirdLine, Font_6x8, White);
	ssd1306_UpdateScreen();

	// check status of UART
	if (!jy62_uart_normal) {
		huansic_jy62_idle_isr(&himu);
	}
	if (!xb_uart_normal) {
		hxb.huart->Instance->DR;		// just read
		huansic_xb_it_error(&hxb);
	}
	jy62_uart_normal = 0;
	xb_uart_normal = 0;
}
/* USER CODE END 4 */

void Error_Handler(void)
{
	__disable_irq();
	while (1) {
	}
}
